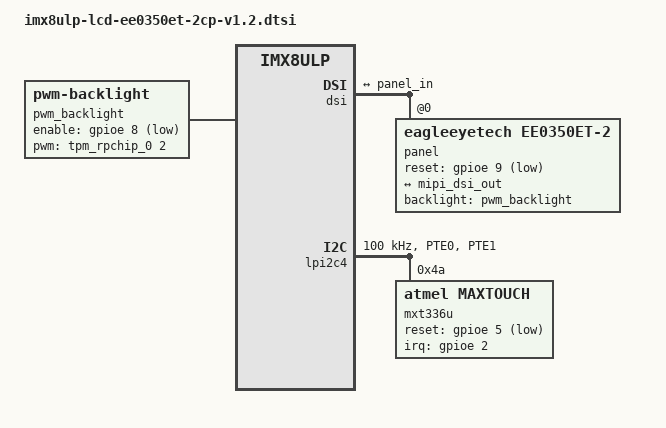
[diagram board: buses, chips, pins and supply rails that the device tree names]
// SPDX-License-Identifier: GPL-2.0+
/*
 * Copyright 2022 NXP
 */

/ {
	pwm_backlight: backlight {
		compatible = "pwm-backlight";
		pwms = <&tpm_rpchip_0 2 50000 0>;
		pinctrl-names = "default";
		pinctrl-0 = <&pinctrl_bl>;
		enable-gpios = <&gpioe 8 GPIO_ACTIVE_LOW>;
		brightness-levels = < 0  1  2  3  4  5  6  7  8  9
				     10 11 12 13 14 15 16 17 18 19
				     20 21 22 23 24 25 26 27 28 29
				     30 31 32 33 34 35 36 37 38 39
				     40 41 42 43 44 45 46 47 48 49
				     50 51 52 53 54 55 56 57 58 59
				     60 61 62 63 64 65 66 67 68 69
				     70 71 72 73 74 75 76 77 78 79
				     80 81 82 83 84 85 86 87 88 89
				     90 91 92 93 94 95 96 97 98 99
				    100>;
		default-brightness-level = <100>;
		fb-names = "mipi_dsi";
	};
};

// /delete-node/ &ite_bridge;

&dsi {
	status = "okay";

	panel@0 {
        compatible = "eagleeyetech,ee0350et-2";
        reg = <0>;
		pinctrl-names = "default";
		pinctrl-0 = <&pinctrl_dsi>;
		// himax,dsi-lanes = <2>;
		reset-gpios = <&gpioe 9 GPIO_ACTIVE_LOW>;
		backlight = <&pwm_backlight>;



		port {
			panel_in: endpoint {
				remote-endpoint = <&mipi_dsi_out>;
			};
		};
	};

	ports {
		port@1 {
			reg = <1>;

			mipi_dsi_out: endpoint {
				remote-endpoint = <&panel_in>;
			};
		};
	};
};

&lpi2c4 {
	#address-cells = <1>;
	#size-cells = <0>;
	clock-frequency = <100000>;
	pinctrl-names = "default", "sleep";
	pinctrl-0 = <&pinctrl_lpi2c4>;
	pinctrl-1 = <&pinctrl_lpi2c4>;
	status = "okay";

	/* Atmel PCAP touch on Touch Connector (I2C) */
	mxt336u@4a {
		compatible = "atmel,maxtouch";
		reg = <0x4a>;
		pinctrl-names = "default";
		pinctrl-0 = <&pinctrl_touch>;
		pinctrl-1 = <&pinctrl_touch>;
		interrupt-parent = <&gpioe>;
		interrupts = <2 IRQ_TYPE_EDGE_FALLING>;
		atmel,cfg_name = "atmel/mxt336u-gloves.cfg";
		reset-gpios = <&gpioe 5 GPIO_ACTIVE_LOW>;
	};
};



&iomuxc1 {
	pinctrl_dsi: dsigrp {
		fsl,pins = <
			MX8ULP_PAD_PTE9__PTE9		0x3
		>;
	};

	pinctrl_bl: blgrp {
		fsl,pins = <
			MX8ULP_PAD_PTE8__PTE8		0x3
		>;
	};

	pinctrl_lpi2c4: lpi2c4grp {
		fsl,pins = <
			MX8ULP_PAD_PTE0__LPI2C4_SCL 0x20
			MX8ULP_PAD_PTE1__LPI2C4_SDA 0x20
		>;
	};

	pinctrl_touch: touchgrp {
		fsl,pins = <
		MX8ULP_PAD_PTE2__PTE2	0x3 //int
		MX8ULP_PAD_PTE5__PTE5	0x3 //reset
		>;
	};

};
